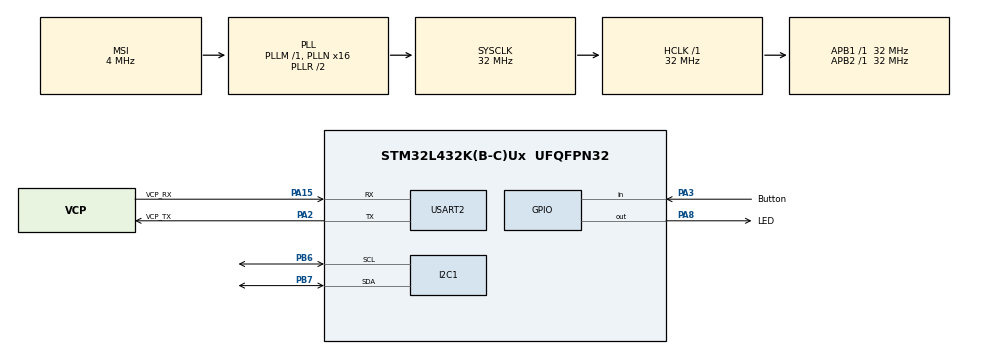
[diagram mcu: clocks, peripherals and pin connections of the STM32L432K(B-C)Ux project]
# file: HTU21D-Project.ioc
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I2C1.Timing=0x00707CBB
Mcu.Family=STM32L4
Mcu.Name=STM32L432K(B-C)Ux
Mcu.Package=UFQFPN32
NVIC.I2C1_ER_IRQn=true\:0\:0\:false\:false\:true\:true\:true\:true
NVIC.I2C1_EV_IRQn=true\:0\:0\:false\:false\:true\:true\:true\:true
NVIC.PriorityGroup=NVIC_PRIORITYGROUP_4
NVIC.TIM1_UP_TIM16_IRQn=true\:0\:0\:false\:false\:true\:true\:true\:true
NVIC.USART2_IRQn=true\:0\:0\:false\:false\:true\:true\:true\:true
PA0.GPIO_Label=MCO [High speed clock in]
PA0.Mode=HSE-External-Clock-Source-for-LittleOrca
PA0.Signal=RCC_CK_IN
PA13\ (JTMS-SWDIO).GPIO_Label=SWDIO
PA13\ (JTMS-SWDIO).Mode=Serial_Wire
PA13\ (JTMS-SWDIO).Signal=SYS_JTMS-SWDIO
PA14\ (JTCK-SWCLK).GPIO_Label=SWCLK
PA14\ (JTCK-SWCLK).Mode=Serial_Wire
PA14\ (JTCK-SWCLK).Signal=SYS_JTCK-SWCLK
PA15\ (JTDI).GPIO_Label=VCP_RX
PA15\ (JTDI).Mode=Asynchronous
PA15\ (JTDI).Signal=USART2_RX
PA2.GPIO_Label=VCP_TX
PA2.Mode=Asynchronous
PA2.Signal=USART2_TX
PA3.GPIO_Label=Button
PA3.Signal=GPIO_Input
PA8.GPIO_Label=LED
PA8.PinState=GPIO_PIN_RESET
PA8.Signal=GPIO_Output
PB6.Mode=I2C
PB6.Signal=I2C1_SCL
PB7.Mode=I2C
PB7.Signal=I2C1_SDA
PC14-OSC32_IN\ (PC14).Mode=LSE-External-Oscillator
PC14-OSC32_IN\ (PC14).Signal=RCC_OSC32_IN
PC15-OSC32_OUT\ (PC15).Mode=LSE-External-Oscillator
PC15-OSC32_OUT\ (PC15).Signal=RCC_OSC32_OUT
ProjectManager.HeapSize=0x200
ProjectManager.StackSize=0x400
ProjectManager.TargetToolchain=STM32CubeIDE
RCC.AHBFreq_Value=32000000
RCC.APB1Freq_Value=32000000
RCC.APB1TimFreq_Value=32000000
RCC.APB2Freq_Value=32000000
RCC.APB2TimFreq_Value=32000000
RCC.CortexFreq_Value=32000000
RCC.HCLKFreq_Value=32000000
RCC.HSE_VALUE=8000000
RCC.HSI16_VALUE=16000000
RCC.HSI48_VALUE=48000000
RCC.HSI_VALUE=16000000
RCC.MSI_VALUE=4000000
RCC.PLLMUL=RCC_PLLMUL_4
RCC.PLLN=16
RCC.SYSCLKFreq_VALUE=32000000
RCC.SYSCLKSource=RCC_SYSCLKSOURCE_PLLCLK
RCC.VCOOutputFreq_Value=64000000
TIM16.AutoReloadPreload=TIM_AUTORELOAD_PRELOAD_ENABLE
TIM16.Period=1001
TIM16.Prescaler=31999
USART2.VirtualMode-Asynchronous=VM_ASYNC
VP_TIM16_VS_ClockSourceINT.Mode=Enable_Timer
board=NUCLEO-L432KC

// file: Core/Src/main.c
/* USER CODE BEGIN Header */
/**
  ******************************************************************************
  * @file           : main.c
  * @brief          : Main program body
  ******************************************************************************
  * @attention
  *
  * Copyright (c) 2022 STMicroelectronics.
  * All rights reserved.
  *
  * This software is licensed under terms that can be found in the LICENSE file
  * in the root directory of this software component.
  * If no LICENSE file comes with this software, it is provided AS-IS.
  *
  ******************************************************************************
  */
/* USER CODE END Header */
#include "main.h"

/* USER CODE BEGIN Includes */

/*--- COMMON LIBRARIES ---*/
#include <string.h>
#include <stdio.h>
#include <math.h>
#include <stdbool.h>
/*--- CUSTOM LIBRARIES ---*/
#include "htu21d.h"

/* USER CODE END Includes */

I2C_HandleTypeDef hi2c1;

TIM_HandleTypeDef htim16;

UART_HandleTypeDef huart2;

void SystemClock_Config(void);
static void MX_GPIO_Init(void);
static void MX_USART2_UART_Init(void);
static void MX_I2C1_Init(void);
static void MX_TIM16_Init(void);
/* USER CODE BEGIN PFP */
char *gcvt(double value, int ndigit, char *buf);
bool buttoncheck();
void sendData(CHECK_VALUE_TYPE value_type);
/* USER CODE END PFP */

/* USER CODE BEGIN 0 */
bool send_data = false;
bool fahrenheit = false;

// counter muss ca 45 erreichen für eine sek
// ergo 5 sek = 45*5 = 225
uint16_t fcount = 225;
bool buttoncheck()
{
	int delay = 10; // Milliseconds
	int val1 = HAL_GPIO_ReadPin(Button_GPIO_Port, Button_Pin);
	HAL_Delay(delay);
	int val2 = HAL_GPIO_ReadPin(Button_GPIO_Port, Button_Pin);
	HAL_Delay(delay);
	int val3 = HAL_GPIO_ReadPin(Button_GPIO_Port, Button_Pin);

	return !(val1 && val2 && val3);
	// 3x switch input
	// delay between getting inputs
	// only return true if all inputs are 0
}

void sendData(CHECK_VALUE_TYPE value_type) {
	char msg[100];
	float htu21d_value = 0;

	switch(value_type) {
		case TEMPERATURE: {
			htu21d_value = getValue(TEMPERATURE);
			bool warning = isTriggered(htu21d_value, TEMPERATURE);
			if(!fahrenheit) {
				sprintf((char*)msg, "Temp C: %0.2f%s|Warning: %s\n\r", htu21d_value, "°C", warning ? "true" : "false");
			} else {
				htu21d_value = calcCelsiusToFahrenheit(htu21d_value);
				sprintf((char*)msg, "Temp F: %0.2f%s|Warning: %s\n\r", htu21d_value, "°F", warning ? "true" : "false");
			}
			break;
		}
		case HUMIDITY: {
			htu21d_value = getValue(HUMIDITY);
			bool warning = isTriggered(htu21d_value, HUMIDITY);
			sprintf((char*)msg, "Humid: %0.2f%s|Warning: %s\n\r", htu21d_value, "%", warning ? "true" : "false");
			break;
		}
		case PARTIAL_PRESSURE: {
			htu21d_value = getValue(PARTIAL_PRESSURE);
			bool warning = isTriggered(htu21d_value, PARTIAL_PRESSURE);
			sprintf((char*)msg, "Pressure: %0.2f%s|Warning: %s\n\r", htu21d_value, " kPa", warning ? "true" : "false");
			break;
		}
		case DEW_POINT_TEMPERATURE: {
			htu21d_value = getValue(DEW_POINT_TEMPERATURE);
			bool warning = isTriggered(htu21d_value, DEW_POINT_TEMPERATURE);
			if(!fahrenheit) {
				sprintf((char*)msg, "Dew Point C: %0.2f%s|Warning: %s\n\r", htu21d_value, "°C", warning ? "true" : "false");
			} else {
				htu21d_value = calcCelsiusToFahrenheit(htu21d_value);
				sprintf((char*)msg, "Dew Point F: %0.2f%s|Warning: %s\n\r", htu21d_value, "°F", warning ? "true" : "false");
			}
			break;
		}
		default:{
			break;
		}
	}

	if(HAL_UART_Transmit(&huart2, (uint8_t*) msg, strlen(msg), 1000)==HAL_ERROR)Error_Handler();
}
/* USER CODE END 0 */

int main(void)
{

  /* MCU Configuration--------------------------------------------------------*/

  /* Reset of all peripherals, Initializes the Flash interface and the Systick. */
  HAL_Init();

  /* Configure the system clock */
  SystemClock_Config();

  /* Initialize all configured peripherals */
  MX_GPIO_Init();
  MX_USART2_UART_Init();
  MX_I2C1_Init();
  MX_TIM16_Init();
  /* USER CODE BEGIN 2 */
  uint16_t value_type = 1;
  int counter = 0;
  bool buttonpress = false;
  HTU21D_Init(hi2c1);

  setWarning(TEMPERATURE, ABOVE, 28);

  /* USER CODE END 2 */

  /* Infinite loop */
  /* USER CODE BEGIN WHILE */
  HAL_TIM_Base_Start_IT(&htim16);
  HTU21D_Soft_Reset();
  HAL_GPIO_WritePin(LED_GPIO_Port, LED_Pin, 1);
  HAL_Delay(50);
  while (1)
  {
	buttonpress = buttoncheck();

	if(buttonpress) {
		//Nur für den ersten press soll der value type sich ändern (man will das durchcyclen verhindern)
		if(counter == 0) {
			value_type = value_type % 4;
			// das enum beginnt mit NONE, wir wollen also 0 überspringen aber 1-4 haben
			value_type++;
		}

		if(counter != -1) {
			counter++;
		}
		// Umstellen von C auf F und vize versa
		if(counter >= fcount) {
			fahrenheit = !fahrenheit;
			// Verhindert, dass nach dem umsetzen die value types wieder geändert werden
			// Man muss den Button danach loslassen um wieder value types zu ändern
			counter = -1;
		}
	} else {
		//Zurücksetzen des counters, wenn er zu kurz gedrückt wurde
		if((counter > 0 || counter == -1) && counter < fcount) {
			counter = 0;
		}
	}

	if(send_data)
	{
		send_data = false;
		sendData(value_type);

		// Zum esten, Ausgabe der Counter variable
		/*
		char msg[100];
		sprintf((char*)msg, "Counter: %i\n\r", counter);
		if(HAL_UART_Transmit(&huart2, (uint8_t*) msg, strlen(msg), 1000)==HAL_ERROR)Error_Handler();
		*/
	}

    /* USER CODE END WHILE */

  }
}

void SystemClock_Config(void)
{
  RCC_OscInitTypeDef RCC_OscInitStruct = {0};
  RCC_ClkInitTypeDef RCC_ClkInitStruct = {0};

  /** Configure the main internal regulator output voltage
  */
  if (HAL_PWREx_ControlVoltageScaling(PWR_REGULATOR_VOLTAGE_SCALE1) != HAL_OK)
  {
    Error_Handler();
  }

  /** Configure LSE Drive Capability
  */
  HAL_PWR_EnableBkUpAccess();
  __HAL_RCC_LSEDRIVE_CONFIG(RCC_LSEDRIVE_LOW);

  /** Initializes the RCC Oscillators according to the specified parameters
  * in the RCC_OscInitTypeDef structure.
  */
  RCC_OscInitStruct.OscillatorType = RCC_OSCILLATORTYPE_LSE|RCC_OSCILLATORTYPE_MSI;
  RCC_OscInitStruct.LSEState = RCC_LSE_ON;
  RCC_OscInitStruct.MSIState = RCC_MSI_ON;
  RCC_OscInitStruct.MSICalibrationValue = 0;
  RCC_OscInitStruct.MSIClockRange = RCC_MSIRANGE_6;
  RCC_OscInitStruct.PLL.PLLState = RCC_PLL_ON;
  RCC_OscInitStruct.PLL.PLLSource = RCC_PLLSOURCE_MSI;
  RCC_OscInitStruct.PLL.PLLM = 1;
  RCC_OscInitStruct.PLL.PLLN = 16;
  RCC_OscInitStruct.PLL.PLLP = RCC_PLLP_DIV7;
  RCC_OscInitStruct.PLL.PLLQ = RCC_PLLQ_DIV2;
  RCC_OscInitStruct.PLL.PLLR = RCC_PLLR_DIV2;
  if (HAL_RCC_OscConfig(&RCC_OscInitStruct) != HAL_OK)
  {
    Error_Handler();
  }

  /** Initializes the CPU, AHB and APB buses clocks
  */
  RCC_ClkInitStruct.ClockType = RCC_CLOCKTYPE_HCLK|RCC_CLOCKTYPE_SYSCLK
                              |RCC_CLOCKTYPE_PCLK1|RCC_CLOCKTYPE_PCLK2;
  RCC_ClkInitStruct.SYSCLKSource = RCC_SYSCLKSOURCE_PLLCLK;
  RCC_ClkInitStruct.AHBCLKDivider = RCC_SYSCLK_DIV1;
  RCC_ClkInitStruct.APB1CLKDivider = RCC_HCLK_DIV1;
  RCC_ClkInitStruct.APB2CLKDivider = RCC_HCLK_DIV1;

  if (HAL_RCC_ClockConfig(&RCC_ClkInitStruct, FLASH_LATENCY_1) != HAL_OK)
  {
    Error_Handler();
  }

  /** Enable MSI Auto calibration
  */
  HAL_RCCEx_EnableMSIPLLMode();
}

static void MX_I2C1_Init(void)
{

  hi2c1.Instance = I2C1;
  hi2c1.Init.Timing = 0x00707CBB;
  hi2c1.Init.OwnAddress1 = 0;
  hi2c1.Init.AddressingMode = I2C_ADDRESSINGMODE_7BIT;
  hi2c1.Init.DualAddressMode = I2C_DUALADDRESS_DISABLE;
  hi2c1.Init.OwnAddress2 = 0;
  hi2c1.Init.OwnAddress2Masks = I2C_OA2_NOMASK;
  hi2c1.Init.GeneralCallMode = I2C_GENERALCALL_DISABLE;
  hi2c1.Init.NoStretchMode = I2C_NOSTRETCH_DISABLE;
  if (HAL_I2C_Init(&hi2c1) != HAL_OK)
  {
    Error_Handler();
  }

  /** Configure Analogue filter
  */
  if (HAL_I2CEx_ConfigAnalogFilter(&hi2c1, I2C_ANALOGFILTER_ENABLE) != HAL_OK)
  {
    Error_Handler();
  }

  /** Configure Digital filter
  */
  if (HAL_I2CEx_ConfigDigitalFilter(&hi2c1, 0) != HAL_OK)
  {
    Error_Handler();
  }

}

static void MX_TIM16_Init(void)
{

  htim16.Instance = TIM16;
  htim16.Init.Prescaler = 31999;
  htim16.Init.CounterMode = TIM_COUNTERMODE_UP;
  htim16.Init.Period = 1001;
  htim16.Init.ClockDivision = TIM_CLOCKDIVISION_DIV1;
  htim16.Init.RepetitionCounter = 0;
  htim16.Init.AutoReloadPreload = TIM_AUTORELOAD_PRELOAD_ENABLE;
  if (HAL_TIM_Base_Init(&htim16) != HAL_OK)
  {
    Error_Handler();
  }

}

static void MX_USART2_UART_Init(void)
{

  huart2.Instance = USART2;
  huart2.Init.BaudRate = 115200;
  huart2.Init.WordLength = UART_WORDLENGTH_8B;
  huart2.Init.StopBits = UART_STOPBITS_1;
  huart2.Init.Parity = UART_PARITY_NONE;
  huart2.Init.Mode = UART_MODE_TX_RX;
  huart2.Init.HwFlowCtl = UART_HWCONTROL_NONE;
  huart2.Init.OverSampling = UART_OVERSAMPLING_16;
  huart2.Init.OneBitSampling = UART_ONE_BIT_SAMPLE_DISABLE;
  huart2.AdvancedInit.AdvFeatureInit = UART_ADVFEATURE_NO_INIT;
  if (HAL_UART_Init(&huart2) != HAL_OK)
  {
    Error_Handler();
  }

}

static void MX_GPIO_Init(void)
{
  GPIO_InitTypeDef GPIO_InitStruct = {0};

  /* GPIO Ports Clock Enable */
  __HAL_RCC_GPIOC_CLK_ENABLE();
  __HAL_RCC_GPIOA_CLK_ENABLE();
  __HAL_RCC_GPIOB_CLK_ENABLE();

  /*Configure GPIO pin Output Level */
  HAL_GPIO_WritePin(LED_GPIO_Port, LED_Pin, GPIO_PIN_RESET);

  /*Configure GPIO pin : Button_Pin */
  GPIO_InitStruct.Pin = Button_Pin;
  GPIO_InitStruct.Mode = GPIO_MODE_INPUT;
  GPIO_InitStruct.Pull = GPIO_NOPULL;
  HAL_GPIO_Init(Button_GPIO_Port, &GPIO_InitStruct);

  /*Configure GPIO pin : LED_Pin */
  GPIO_InitStruct.Pin = LED_Pin;
  GPIO_InitStruct.Mode = GPIO_MODE_OUTPUT_PP;
  GPIO_InitStruct.Pull = GPIO_NOPULL;
  GPIO_InitStruct.Speed = GPIO_SPEED_FREQ_LOW;
  HAL_GPIO_Init(LED_GPIO_Port, &GPIO_InitStruct);

}

/* USER CODE BEGIN 4 */
void HAL_TIM_PeriodElapsedCallback(TIM_HandleTypeDef *htim)
{

	 if(htim == &htim16) {
		 send_data = true;
	 }

}
/* USER CODE END 4 */

void Error_Handler(void)
{
  __disable_irq();
  while (1)
  {
  }
}
